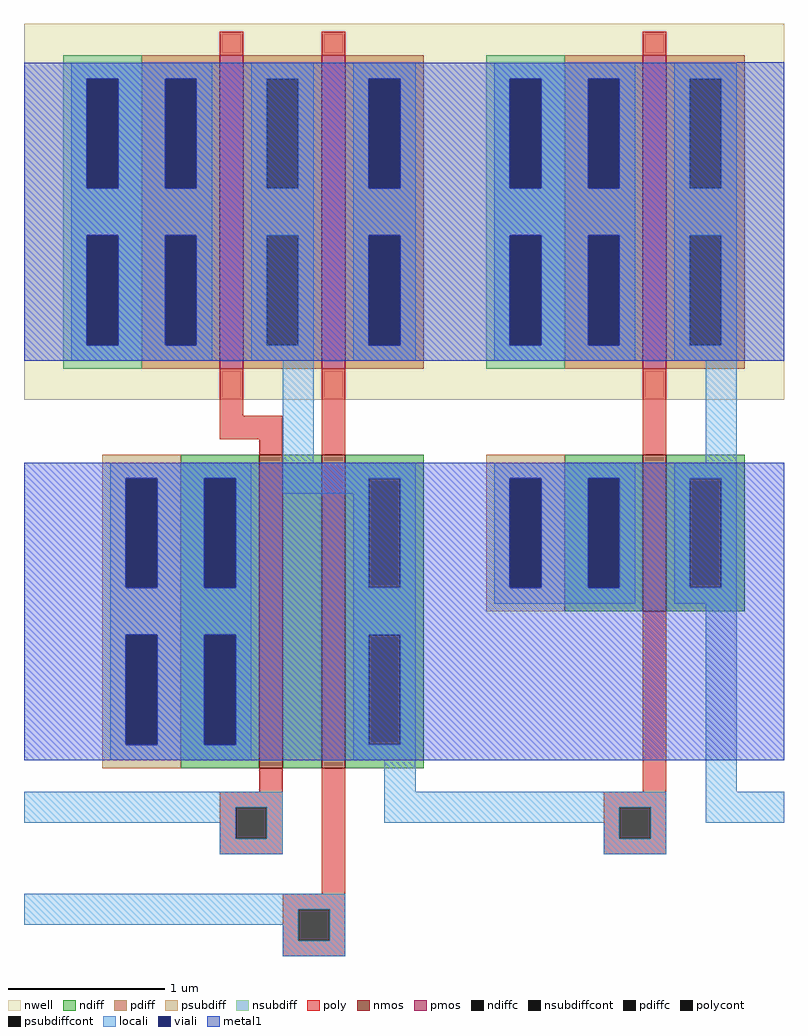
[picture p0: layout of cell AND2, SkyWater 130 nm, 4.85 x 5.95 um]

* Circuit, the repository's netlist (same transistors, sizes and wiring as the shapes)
* NGSPICE file created from AND2.ext - technology: sky130A

.subckt inverter A Y VP VN
X0 Y A VP VP sky130_fd_pr__pfet_01v8 ad=1 pd=5 as=1 ps=5 w=2 l=0.15
X1 Y A VN VN sky130_fd_pr__nfet_01v8 ad=0.5 pd=3 as=0.5 ps=3 w=1 l=0.15
.ends

.subckt NAND A B Y VP VN
X0 Y A VP VP sky130_fd_pr__pfet_01v8 ad=0.5 pd=2.5 as=1 ps=5 w=2 l=0.15
X1 VP B Y VP sky130_fd_pr__pfet_01v8 ad=1 pd=5 as=0.5 ps=2.5 w=2 l=0.15
X2 Y B a_80_n200# VN sky130_fd_pr__nfet_01v8 ad=1 pd=5 as=0.25 ps=2.25 w=2 l=0.15
X3 a_80_n200# A VN VN sky130_fd_pr__nfet_01v8 ad=0.25 pd=2.25 as=1 ps=5 w=2 l=0.15
.ends


* Top level circuit AND2

Xinverter_0 NAND_0/Y inverter_0/Y NAND_0/VP VSUBS inverter
XNAND_0 NAND_0/A NAND_0/B NAND_0/Y NAND_0/VP VSUBS NAND
.end

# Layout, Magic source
magic
tech sky130A
magscale 1 2
<< locali >>
rect 0 170 60 210
rect 910 170 970 210
rect 0 40 60 80
<< metal1 >>
rect 910 1140 970 1141
rect 0 760 60 1140
rect 0 250 110 630
use inverter  inverter_0
transform 1 0 800 0 1 440
box -250 -310 170 750
use NAND  NAND_0
transform 1 0 250 0 1 440
box -250 -440 300 750
<< end >>

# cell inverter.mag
magic
tech sky130A
<< nwell >>
rect -125 135 85 375
<< nmos >>
rect -5 0 10 100
<< pmos >>
rect -5 155 10 355
<< ndiff >>
rect -55 85 -5 100
rect -55 15 -40 85
rect -20 15 -5 85
rect -55 0 -5 15
rect 10 85 60 100
rect 10 15 25 85
rect 45 15 60 85
rect 10 0 60 15
<< pdiff >>
rect -55 340 -5 355
rect -55 270 -40 340
rect -20 270 -5 340
rect -55 240 -5 270
rect -55 170 -40 240
rect -20 170 -5 240
rect -55 155 -5 170
rect 10 340 60 355
rect 10 270 25 340
rect 45 270 60 340
rect 10 240 60 270
rect 10 170 25 240
rect 45 170 60 240
rect 10 155 60 170
<< ndiffc >>
rect -40 15 -20 85
rect 25 15 45 85
<< pdiffc >>
rect -40 270 -20 340
rect -40 170 -20 240
rect 25 270 45 340
rect 25 170 45 240
<< psubdiff >>
rect -105 85 -55 100
rect -105 15 -90 85
rect -70 15 -55 85
rect -105 0 -55 15
<< nsubdiff >>
rect -105 340 -55 355
rect -105 270 -90 340
rect -70 270 -55 340
rect -105 240 -55 270
rect -105 170 -90 240
rect -70 170 -55 240
rect -105 155 -55 170
<< psubdiffcont >>
rect -90 15 -70 85
<< nsubdiffcont >>
rect -90 270 -70 340
rect -90 170 -70 240
<< poly >>
rect -5 355 10 370
rect -5 100 10 155
rect -5 -115 10 0
rect -30 -125 10 -115
rect -30 -145 -20 -125
rect 0 -145 10 -125
rect -30 -155 10 -145
<< polycont >>
rect -20 -145 0 -125
<< locali >>
rect -100 340 -10 350
rect -100 270 -90 340
rect -70 270 -40 340
rect -20 270 -10 340
rect -100 240 -10 270
rect -100 170 -90 240
rect -70 170 -40 240
rect -20 170 -10 240
rect -100 160 -10 170
rect 15 340 55 350
rect 15 270 25 340
rect 45 270 55 340
rect 15 240 55 270
rect 15 170 25 240
rect 45 170 55 240
rect 15 160 55 170
rect 35 95 55 160
rect -100 85 -10 95
rect -100 15 -90 85
rect -70 15 -40 85
rect -20 15 -10 85
rect -100 5 -10 15
rect 15 85 55 95
rect 15 15 25 85
rect 45 15 55 85
rect 15 5 55 15
rect 35 -115 55 5
rect -125 -125 10 -115
rect -125 -135 -20 -125
rect -30 -145 -20 -135
rect 0 -145 10 -125
rect 35 -135 85 -115
rect -30 -155 10 -145
<< viali >>
rect -90 270 -70 340
rect -40 270 -20 340
rect -90 170 -70 240
rect -40 170 -20 240
rect -90 15 -70 85
rect -40 15 -20 85
<< metal1 >>
rect -125 340 85 350
rect -125 270 -90 340
rect -70 270 -40 340
rect -20 270 85 340
rect -125 240 85 270
rect -125 170 -90 240
rect -70 170 -40 240
rect -20 170 85 240
rect -125 160 85 170
rect -125 85 85 95
rect -125 15 -90 85
rect -70 15 -40 85
rect -20 15 85 85
rect -125 -95 85 15
<< labels >>
rlabel metal1 -125 260 -125 260 7 VP
port 3 w
rlabel locali -125 -125 -125 -125 7 A
port 1 w
rlabel locali 85 -125 85 -125 3 Y
port 2 e
rlabel metal1 -125 0 -125 0 7 VN
port 4 w
<< end >>

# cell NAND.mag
magic
tech sky130A
<< nwell >>
rect -125 135 150 375
<< nmos >>
rect 25 -100 40 100
rect 65 -100 80 100
<< pmos >>
rect 0 155 15 355
rect 65 155 80 355
<< ndiff >>
rect -25 85 25 100
rect -25 15 -10 85
rect 10 15 25 85
rect -25 -15 25 15
rect -25 -85 -10 -15
rect 10 -85 25 -15
rect -25 -100 25 -85
rect 40 -100 65 100
rect 80 85 130 100
rect 80 15 95 85
rect 115 15 130 85
rect 80 -15 130 15
rect 80 -85 95 -15
rect 115 -85 130 -15
rect 80 -100 130 -85
<< pdiff >>
rect -50 340 0 355
rect -50 270 -35 340
rect -15 270 0 340
rect -50 240 0 270
rect -50 170 -35 240
rect -15 170 0 240
rect -50 155 0 170
rect 15 340 65 355
rect 15 270 30 340
rect 50 270 65 340
rect 15 240 65 270
rect 15 170 30 240
rect 50 170 65 240
rect 15 155 65 170
rect 80 340 130 355
rect 80 270 95 340
rect 115 270 130 340
rect 80 240 130 270
rect 80 170 95 240
rect 115 170 130 240
rect 80 155 130 170
<< ndiffc >>
rect -10 15 10 85
rect -10 -85 10 -15
rect 95 15 115 85
rect 95 -85 115 -15
<< pdiffc >>
rect -35 270 -15 340
rect -35 170 -15 240
rect 30 270 50 340
rect 30 170 50 240
rect 95 270 115 340
rect 95 170 115 240
<< psubdiff >>
rect -75 85 -25 100
rect -75 15 -60 85
rect -40 15 -25 85
rect -75 -15 -25 15
rect -75 -85 -60 -15
rect -40 -85 -25 -15
rect -75 -100 -25 -85
<< nsubdiff >>
rect -100 340 -50 355
rect -100 270 -85 340
rect -65 270 -50 340
rect -100 240 -50 270
rect -100 170 -85 240
rect -65 170 -50 240
rect -100 155 -50 170
<< psubdiffcont >>
rect -60 15 -40 85
rect -60 -85 -40 -15
<< nsubdiffcont >>
rect -85 270 -65 340
rect -85 170 -65 240
<< poly >>
rect 0 355 15 370
rect 65 355 80 370
rect 0 125 15 155
rect 0 110 40 125
rect 25 100 40 110
rect 65 100 80 155
rect 25 -115 40 -100
rect 0 -125 40 -115
rect 0 -145 10 -125
rect 30 -145 40 -125
rect 0 -155 40 -145
rect 65 -180 80 -100
rect 40 -190 80 -180
rect 40 -210 50 -190
rect 70 -210 80 -190
rect 40 -220 80 -210
<< polycont >>
rect 10 -145 30 -125
rect 50 -210 70 -190
<< locali >>
rect -95 340 -5 350
rect -95 270 -85 340
rect -65 270 -35 340
rect -15 270 -5 340
rect -95 240 -5 270
rect -95 170 -85 240
rect -65 170 -35 240
rect -15 170 -5 240
rect -95 160 -5 170
rect 20 340 60 350
rect 20 270 30 340
rect 50 270 60 340
rect 20 240 60 270
rect 20 170 30 240
rect 50 170 60 240
rect 20 160 60 170
rect 85 340 125 350
rect 85 270 95 340
rect 115 270 125 340
rect 85 240 125 270
rect 85 170 95 240
rect 115 170 125 240
rect 85 160 125 170
rect 40 95 60 160
rect -70 85 20 95
rect -70 15 -60 85
rect -40 15 -10 85
rect 10 15 20 85
rect 40 85 125 95
rect 40 75 95 85
rect -70 -15 20 15
rect -70 -85 -60 -15
rect -40 -85 -10 -15
rect 10 -85 20 -15
rect -70 -95 20 -85
rect 85 15 95 75
rect 115 15 125 85
rect 85 -15 125 15
rect 85 -85 95 -15
rect 115 -85 125 -15
rect 85 -95 125 -85
rect 105 -115 125 -95
rect -125 -125 40 -115
rect -125 -135 10 -125
rect 0 -145 10 -135
rect 30 -145 40 -125
rect 105 -135 150 -115
rect 0 -155 40 -145
rect -125 -190 80 -180
rect -125 -200 50 -190
rect 40 -210 50 -200
rect 70 -210 80 -190
rect 40 -220 80 -210
<< viali >>
rect -85 270 -65 340
rect -35 270 -15 340
rect -85 170 -65 240
rect -35 170 -15 240
rect 95 270 115 340
rect 95 170 115 240
rect -60 15 -40 85
rect -10 15 10 85
rect -60 -85 -40 -15
rect -10 -85 10 -15
<< metal1 >>
rect -125 340 150 350
rect -125 270 -85 340
rect -65 270 -35 340
rect -15 270 95 340
rect 115 270 150 340
rect -125 240 150 270
rect -125 170 -85 240
rect -65 170 -35 240
rect -15 170 95 240
rect 115 170 150 240
rect -125 160 150 170
rect -125 85 150 95
rect -125 15 -60 85
rect -40 15 -10 85
rect 10 15 150 85
rect -125 -15 150 15
rect -125 -85 -60 -15
rect -40 -85 -10 -15
rect 10 -85 150 -15
rect -125 -95 150 -85
<< labels >>
rlabel locali -125 -125 -125 -125 7 A
port 1 w
rlabel locali -125 -190 -125 -190 7 B
port 2 w
rlabel locali 150 -125 150 -125 3 Y
port 3 e
rlabel metal1 -125 255 -125 255 7 VP
port 4 w
rlabel metal1 -125 0 -125 0 7 VN
port 5 w
<< end >>
